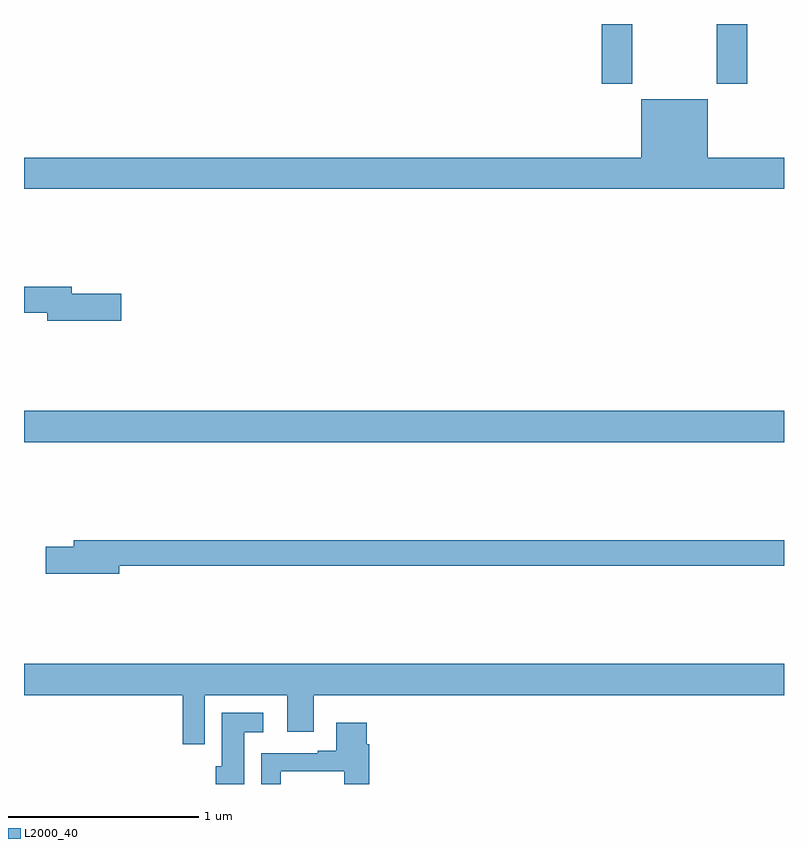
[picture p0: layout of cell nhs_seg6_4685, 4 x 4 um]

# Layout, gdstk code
import gdstk
lib = gdstk.Library(unit=1e-6, precision=1e-09)
def R(c, l, rs):  # rectangles x0, y0, x1, y1
    for r in rs: c.add(gdstk.rectangle(r[:2], r[2:], *l))
def P(c, l, *ps):  # polygons
    for p in ps: c.add(gdstk.Polygon(p, *l))
L2000_40 = (2000, 40)

nhs_seg6_4685 = lib.new_cell('nhs_seg6_4685')
R(nhs_seg6_4685, L2000_40, [(387,983.3,391,983.464), (390.041,985.185,390.201,985.5), (390.646,985.185,390.806,985.5)])
P(nhs_seg6_4685, L2000_40, [(391,984.796),(390.598,984.796),(390.598,985.105),(390.248,985.105),(390.248,984.796),(387,984.796),(387,984.632),(391,984.632)],
  [(387.511,984.08),(387.25,984.08),(387.25,984.116),(387,984.116),(387,983.98),(387.122,983.98),(387.122,983.938),(387.511,983.938)],
  [(387.502,982.648),(391,982.648),(391,982.784),(387.263,982.784),(387.263,982.748),(387.114,982.748),(387.114,982.606),(387.502,982.606)],
  [(387.951,981.968),(388.385,981.968),(388.385,981.774),(388.525,981.774),(388.525,981.968),(391,981.968),(391,982.132),(387,982.132),(387,981.968),(387.835,981.968),(387.835,981.708),(387.951,981.708)],
  [(388.159,981.773),(388.258,981.773),(388.258,981.874),(388.04,981.874),(388.04,981.594),(388.01,981.594),(388.01,981.5),(388.159,981.5)],
  [(388.351,981.567),(388.685,981.567),(388.685,981.5),(388.817,981.5),(388.817,981.71),(388.804,981.71),(388.804,981.823),(388.643,981.823),(388.643,981.676),(388.547,981.676),(388.547,981.663),(388.248,981.663),(388.248,981.5),(388.351,981.5)])

lib.write_gds('nhs_seg6_4685.gds')
